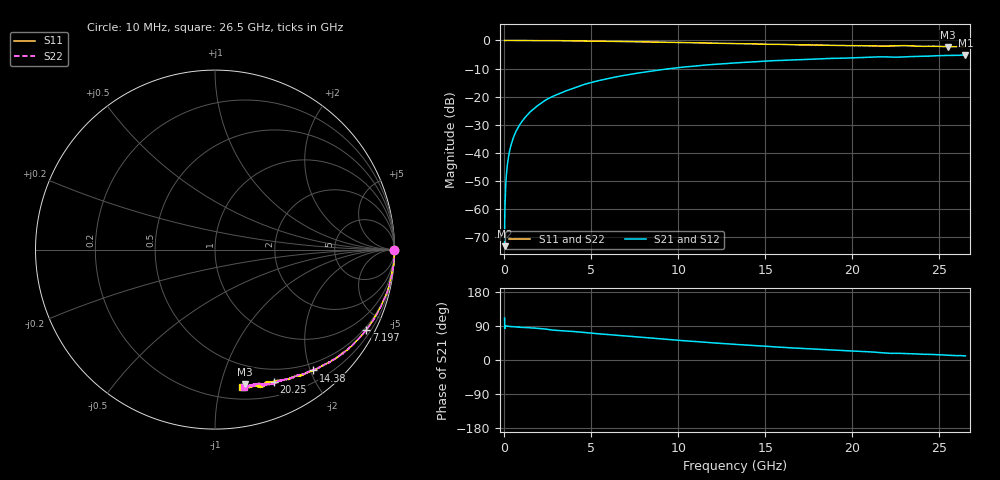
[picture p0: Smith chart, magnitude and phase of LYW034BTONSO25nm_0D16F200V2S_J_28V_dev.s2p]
!Keysight Technologies,N5222B,MY61253708,A.15.00.15
!Date: Wednesday, June 19, 2024 08:52:56
!Correction: S11(C  2-Port  )
!S21(C  2-Port  )
!S12(C  2-Port  )
!S22(C  2-Port  )
!S2P File: Measurements: S11, S21, S12, S22:
# Hz S  RI  R 50
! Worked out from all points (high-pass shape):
!   2651 points, 10 MHz to 26.5 GHz, reference 50 ohm
!   highest |S21| = -5.16 dB at 26.5 GHz (marker M1); lowest = -73.2 dB at 10 MHz (marker M2)
!   |S21| within 3 dB of the highest: 12.86 GHz to end of sweep
!   lowest |S11| = -2.3 dB at 25.5 GHz (marker M3), VSWR 7.69, Z = 16.2 - j59.8 ohm
!   |S11| at or under -10 dB: nowhere
!   |S22| runs from -2.2 to 0.0 dB; largest |S21 - S12| = 0.0076
!   S11 on the Smith chart (normalised r, x): 10 MHz: open; 7.197 GHz: 0.40, -4.00; 14.38 GHz: 0.38, -2.05; 20.25 GHz: 0.35, -1.48; 26.5 GHz: 0.30, -1.17
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1e7  0.9985 -0.00225  -7.8e-05 0.000205  4.43e-05 0.000657  0.9988 -0.000979
7.997358e7  0.9998 -0.00593  7.41e-06 0.00291  2.11e-05 0.00293  0.9994 -0.00548
1.499472e8  0.9998 -0.0115  5.63e-05 0.00547  5.99e-05 0.00549  0.9994 -0.0108
1.899321e8  1 -0.0135  0.000101 0.00692  9.46e-05 0.00696  0.9997 -0.0128
2.399132e8  0.9992 -0.0176  0.00016 0.00873  0.000161 0.00878  0.9991 -0.0168
3.398755e8  0.999 -0.0244  0.000363 0.0124  0.000322 0.0124  0.9992 -0.0235
4.598302e8  0.9988 -0.0333  0.000559 0.0167  0.000572 0.0167  0.9986 -0.0324
6.197698e8  0.9986 -0.0445  0.00104 0.0225  0.00107 0.0226  0.9985 -0.0435
8.096981e8  0.9976 -0.0578  0.00168 0.0292  0.00172 0.0294  0.9971 -0.0565
1.43946e9  0.9892 -0.103  0.00427 0.0519  0.00434 0.0522  0.9918 -0.0993
2.319128e9  0.9788 -0.1601  0.012 0.0842  0.0122 0.0847  0.9804 -0.1604
3.138819e9  0.9658 -0.2152  0.0242 0.1107  0.0244 0.1113  0.9669 -0.2133
4.428332e9  0.9338 -0.2952  0.0454 0.1528  0.0458 0.1537  0.9359 -0.2919
7.197287e9  0.8434 -0.4456  0.1154 0.2204  0.1166 0.2209  0.8455 -0.4438
8.846664e9  0.7784 -0.5186  0.1645 0.2477  0.1659 0.2485  0.7811 -0.5161
1.3255e10  0.5923 -0.6502  0.2992 0.2632  0.3014 0.2632  0.5973 -0.6483
1.438457e10  0.5473 -0.6731  0.329 0.2568  0.331 0.2573  0.5527 -0.6685
1.767333e10  0.4162 -0.7177  0.4051 0.2256  0.4084 0.2244  0.4292 -0.7155
2.025236e10  0.328 -0.7373  0.4541 0.1935  0.4571 0.1916  0.3467 -0.7372
2.209166e10  0.2838 -0.7407  0.4836 0.1567  0.4851 0.1545  0.2798 -0.7482
2.550038e10  0.1683 -0.7511  0.5286 0.1159  0.53 0.1169  0.1902 -0.7576
2.65e10  0.1505 -0.7658  0.5418 0.1048  0.5408 0.1018  0.1643 -0.7662
